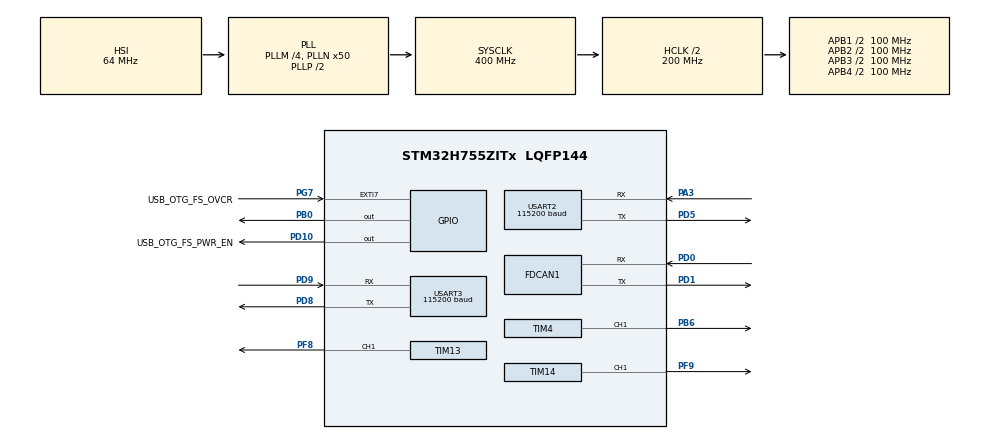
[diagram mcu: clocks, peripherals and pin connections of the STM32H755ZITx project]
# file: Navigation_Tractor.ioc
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CortexM4.IPs=FATFS_M4\:I,FREERTOS_M4\:I,IWDG2\:I,RCC,WWDG2\:I,DMA,BDMA,MDMA,NVIC2\:I,ETH,USART3,DEBUG,PDM2PCM_M4\:I,PWR,RESMGR_UTILITY,SYS_M4\:I,USB_DEVICE_M4\:I,USB_HOST_M4\:I,CORTEX_M4\:I,GPIO,OPENAMP_M4\:I,VREFBUF,NUCLEO-H755ZI-Q
CortexM7.IPs=FATFS_M7\:I,FREERTOS_M7\:I,IWDG1\:I,RCC\:I,WWDG1\:I,DMA\:I,BDMA\:I,MDMA\:I,NVIC1\:I,ETH\:I,USART3\:I,USB_OTG_FS\:I,SYS\:I,CORTEX_M7\:I,DEBUG\:I,PDM2PCM_M7\:I,PWR\:I,RESMGR_UTILITY\:I,USB_DEVICE_M7\:I,USB_HOST_M7\:I,GPIO\:I,OPENAMP_M7\:I,VREFBUF\:I,NUCLEO-H755ZI-Q\:I,MEMORYMAP\:I,TIM13\:I,TIM14\:I,USART2\:I,FDCAN1\:I,TIM4\:I
CortexM7.Pins=PB0
FDCAN1.CalculateBaudRateNominal=500000
FDCAN1.CalculateTimeBitNominal=2000
FDCAN1.CalculateTimeQuantumNominal=400.0
FDCAN1.NominalPrescaler=40
FDCAN1.NominalSyncJumpWidth=1
FDCAN1.NominalTimeSeg1=3
FDCAN1.NominalTimeSeg2=1
FDCAN1.ProtocolException=DISABLE
FDCAN1.RxFifo0ElmtsNbr=4
FDCAN1.StdFiltersNbr=1
FDCAN1.TxFifoQueueElmtsNbr=4
FREERTOS_M7.Tasks01=defaultTask,24,128,StartDefaultTask,Default,NULL,Dynamic,NULL,NULL
Mcu.Family=STM32H7
Mcu.Name=STM32H755ZITx
Mcu.Package=LQFP144
NVIC1.FDCAN1_IT0_IRQn=true\:5\:0\:true\:false\:true\:true\:true\:true\:true
NVIC1.PriorityGroup=NVIC_PRIORITYGROUP_4
NVIC1.USART2_IRQn=true\:5\:0\:false\:false\:true\:true\:true\:true\:true
NVIC1.USART3_IRQn=true\:5\:0\:false\:false\:true\:true\:true\:true\:true
NVIC2.PriorityGroup=NVIC_PRIORITYGROUP_4
PA1.PinAttribute=CortexM7
PA1.Signal=ETH_REF_CLK
PA11.PinAttribute=CortexM7
PA11.Signal=USB_OTG_FS_DM
PA12.PinAttribute=CortexM7
PA12.Signal=USB_OTG_FS_DP
PA2.PinAttribute=CortexM7
PA2.Signal=ETH_MDIO
PA3.Mode=Asynchronous
PA3.PinAttribute=CortexM7
PA3.Signal=USART2_RX
PA7.PinAttribute=CortexM7
PA7.Signal=ETH_CRS_DV
PA8.PinAttribute=CortexM7
PA8.Signal=USB_OTG_FS_SOF
PA9.PinAttribute=CortexM7
PA9.Signal=USB_OTG_FS_VBUS
PB0.PinAttribute=CortexM7
PB0.Signal=GPIO_Output
PB13.PinAttribute=CortexM7
PB13.Signal=ETH_TXD1
PB6.PinAttribute=CortexM7
PB6.Signal=S_TIM4_CH1
PC1.PinAttribute=CortexM7
PC1.Signal=ETH_MDC
PC14-OSC32_IN\ (OSC32_IN).Mode=LSE-External-Oscillator
PC14-OSC32_IN\ (OSC32_IN).PinAttribute=Free
PC14-OSC32_IN\ (OSC32_IN).Signal=RCC_OSC32_IN
PC15-OSC32_OUT\ (OSC32_OUT).Mode=LSE-External-Oscillator
PC15-OSC32_OUT\ (OSC32_OUT).PinAttribute=Free
PC15-OSC32_OUT\ (OSC32_OUT).Signal=RCC_OSC32_OUT
PC4.PinAttribute=CortexM7
PC4.Signal=ETH_RXD0
PC5.PinAttribute=CortexM7
PC5.Signal=ETH_RXD1
PD0.Mode=FDCAN_Activate
PD0.PinAttribute=CortexM7
PD0.Signal=FDCAN1_RX
PD1.Mode=FDCAN_Activate
PD1.PinAttribute=CortexM7
PD1.Signal=FDCAN1_TX
PD10.GPIO_Label=USB_OTG_FS_PWR_EN
PD10.PinAttribute=Free
PD10.Signal=GPIO_Output
PD5.Mode=Asynchronous
PD5.PinAttribute=CortexM7
PD5.Signal=USART2_TX
PD8.Mode=Asynchronous
PD8.PinAttribute=CortexM7
PD8.Signal=USART3_TX
PD9.Mode=Asynchronous
PD9.PinAttribute=CortexM7
PD9.Signal=USART3_RX
PF8.PinAttribute=CortexM7
PF8.Signal=S_TIM13_CH1
PF9.PinAttribute=CortexM7
PF9.Signal=S_TIM14_CH1
PG11.PinAttribute=CortexM7
PG11.Signal=ETH_TX_EN
PG13.PinAttribute=CortexM7
PG13.Signal=ETH_TXD0
PG7.GPIO_Label=USB_OTG_FS_OVCR
PG7.PinAttribute=Free
PG7.Signal=GPXTI7
PH0-OSC_IN\ (PH0).Mode=HSE-External-Clock-Source
PH0-OSC_IN\ (PH0).PinAttribute=Free
PH0-OSC_IN\ (PH0).Signal=RCC_OSC_IN
PH1-OSC_OUT\ (PH1).PinAttribute=Free
PH1-OSC_OUT\ (PH1).Signal=RCC_OSC_OUT
ProjectManager.HeapSize=M4-0x200,M7-0x200
ProjectManager.StackSize=M4-0x400,M7-0x400
ProjectManager.TargetToolchain=STM32CubeIDE
RCC.ADCFreq_Value=129000000
RCC.APB1Freq_Value=100000000
RCC.APB2Freq_Value=100000000
RCC.APB3Freq_Value=100000000
RCC.APB4Freq_Value=100000000
RCC.CortexFreq_Value=400000000
RCC.D1PPRE=RCC_APB3_DIV2
RCC.D2PPRE1=RCC_APB1_DIV2
RCC.D2PPRE2=RCC_APB2_DIV2
RCC.D3PPRE=RCC_APB4_DIV2
RCC.DIVM1=4
RCC.DIVN1=50
RCC.DIVQ1=8
RCC.HCLKFreq_Value=200000000
RCC.HPRE=RCC_HCLK_DIV2
RCC.HSE_VALUE=25000000
RCC.PLL2FRACN=0
RCC.PLL3FRACN=0
RCC.PLLFRACN=0
RCC.SYSCLKFreq_VALUE=400000000
RCC.SYSCLKSource=RCC_SYSCLKSOURCE_PLLCLK
RCC.SupplySource=PWR_DIRECT_SMPS_SUPPLY
RCC.USBFreq_Value=100000000
SH.S_TIM13_CH1.0=TIM13_CH1,PWM Generation1 CH1
SH.S_TIM14_CH1.0=TIM14_CH1,PWM Generation1 CH1
SH.S_TIM4_CH1.0=TIM4_CH1,PWM Generation1 CH1
TIM13.AutoReloadPreload=TIM_AUTORELOAD_PRELOAD_ENABLE
TIM13.Channel=TIM_CHANNEL_1
TIM13.Period=19999
TIM13.Prescaler=199
TIM13.Pulse=1500
TIM14.AutoReloadPreload=TIM_AUTORELOAD_PRELOAD_ENABLE
TIM14.Channel=TIM_CHANNEL_1
TIM14.Period=19999
TIM14.Prescaler=199
TIM14.Pulse=1500
TIM4.Channel-PWM\ Generation1\ CH1=TIM_CHANNEL_1
TIM4.Period=99
TIM4.Prescaler=9
USART2.BaudRate=115200
USART2.VirtualMode-Asynchronous=VM_ASYNC
USART3.BaudRate=115200
USART3.VirtualMode-Asynchronous=VM_ASYNC
VP_FREERTOS_M7_VS_CMSIS_V2.Mode=CMSIS_V2
VP_MEMORYMAP_VS_MEMORYMAP.Mode=CurAppReg
VP_SYS_M4_VS_Systick.Mode=SysTick
VP_TIM13_VS_ClockSourceINT.Mode=Enable_Timer
VP_TIM14_VS_ClockSourceINT.Mode=Enable_Timer
board=NUCLEO-H755ZI-Q

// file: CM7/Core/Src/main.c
/* USER CODE BEGIN Header */
/**
  ******************************************************************************
  * @file           : main.c
  * @brief          : Main program body
  ******************************************************************************
  * @attention
  *
  * Copyright (c) 2025 STMicroelectronics.
  * All rights reserved.
  *
  * This software is licensed under terms that can be found in the LICENSE file
  * in the root directory of this software component.
  * If no LICENSE file comes with this software, it is provided AS-IS.
  *
  ******************************************************************************
  */
/* USER CODE END Header */
#include "main.h"
#include "cmsis_os.h"

/* USER CODE BEGIN Includes */
#include "hc05_module.h"
#include "myprintf.h"
#include "motor_controller.h"
#include "Buzzer.h"
#include "FreeRTOS.h"
#include "queue.h"
#include "Constants.h"
/* USER CODE END Includes */

/* USER CODE BEGIN PD */

/* DUAL_CORE_BOOT_SYNC_SEQUENCE: Define for dual core boot synchronization    */
/*                             demonstration code based on hardware semaphore */
/* This define is present in both CM7/CM4 projects                            */
/* To comment when developping/debugging on a single core                     */
#define DUAL_CORE_BOOT_SYNC_SEQUENCE

#if defined(DUAL_CORE_BOOT_SYNC_SEQUENCE)
#ifndef HSEM_ID_0
#define HSEM_ID_0 (0U) /* HW semaphore 0*/
#endif
#endif /* DUAL_CORE_BOOT_SYNC_SEQUENCE */

/* USER CODE END PD */

FDCAN_HandleTypeDef hfdcan1;

TIM_HandleTypeDef htim4;
TIM_HandleTypeDef htim13;
TIM_HandleTypeDef htim14;

UART_HandleTypeDef huart2;
UART_HandleTypeDef huart3;

/* Definitions for defaultTask */
/* USER CODE BEGIN PV */
//CONTROL DECLARATION
OdomData_t gOdom;
Pose2D_t     g_pose   = {0};
Pose2D_t     odom_pose   = {0};
Pose2D_Camera    cam_pose   = {0};
ControlCmd_t g_ctrl   = {0};

//WAYPOINT DECLARATION
Waypoint path[NUM_WP] = {
		{0.7f, -0.13f},
		{0.44f, 0.67f},
		{1.50f, 0.26f},
		{1.50f,0.8f}
};

int current_wp = INITIAL_WAYPOINT;
int waypoint_active = 0;

//SERVO OFFSET CONFIGURATION
const uint16_t SERVO_CENTER_PWM = SERVO_STATE;
const uint16_t SERVO_MIN_PWM = SERVO_MIN;
const uint16_t SERVO_MAX_PWM = SERVO_MAX;
const float    SERVO_K_PWM_PER_RAD = (SERVO_MAX_PWM-SERVO_STATE) / (26.0f * M_PI/180.0f);

//RTOS QUEUES AND TASK DECLARATION
QueueHandle_t xCanRxQueue;
osThreadId_t canRxTaskHandle;
osThreadId_t actuatorTaskHandle;
osThreadId_t controlTaskHandle;
osThreadId_t waypointManagerTaskHandle;
osThreadId_t debugTaskHandle;

const osThreadAttr_t canRxTask_attributes = {
  .name = "canRxTask",
  .stack_size = 512 * 4,                   // 2 KB of stack
  .priority = (osPriority_t) osPriorityHigh,
};

const osThreadAttr_t actuatorTask_attributes = {
  .name = "actuatorTask",
  .stack_size = 512 * 4,                   // 2 KB of stack
  .priority = (osPriority_t) osPriorityAboveNormal1,
};
const osThreadAttr_t controlTask_attributes = {
  .name = "controlTask",
  .stack_size = 512 * 4,                   // 2 KB of stack
  .priority = (osPriority_t) osPriorityAboveNormal,
};
const osThreadAttr_t waypointTask_attributes = {
  .name = "waypointManagerTask",
  .stack_size = 512 * 4,                   // 2 KB of stack
  .priority = (osPriority_t) osPriorityAboveNormal,
};
const osThreadAttr_t debugTask_attributes = {
  .name = "debugTask",
  .stack_size = 512 * 4,                   // 2 KB of stack
  .priority = (osPriority_t)  osPriorityNormal,
};

/* USER CODE END PV */

void SystemClock_Config(void);
static void MX_GPIO_Init(void);
static void MX_USART3_UART_Init(void);
static void MX_TIM13_Init(void);
static void MX_TIM14_Init(void);
static void MX_USART2_UART_Init(void);
static void MX_FDCAN1_Init(void);
static void MX_TIM4_Init(void);
void StartDefaultTask(void *argument);

/* USER CODE BEGIN PFP */
void CanRxTask(void *argument);
void ActuatorTask(void *argument);
void Control_Task(void *argument);
void WaypointManager_Task(void *argument);
void Debug_Task(void *argument);
float pure_pursuit_compute_delta(Pose2D_t pose, Waypoint path[],int current_wp);

/* USER CODE END PFP */

/* USER CODE BEGIN 0 */
/* --- Calibration --- */
void HAL_FDCAN_RxFifo0Callback(FDCAN_HandleTypeDef *hfdcan, uint32_t RxFifo0ITs)
{
    if ((RxFifo0ITs & FDCAN_IT_RX_FIFO0_NEW_MESSAGE) != 0)
    {   //Received new message in interruption
        FDCAN_RxHeaderTypeDef rxHeader;
        uint8_t rxData[8];
        //Check new message is a valid can message
        if (HAL_FDCAN_GetRxMessage(hfdcan, FDCAN_RX_FIFO0, &rxHeader, rxData) == HAL_OK)
        {
        	CanFrame_t frame;   //Create a frame message with our struct
        	frame.id  = rxHeader.Identifier; //Set can ID
        	memcpy(frame.data, rxData, 8); 	 //Copy data to frame data
        	BaseType_t xHigherPriorityTaskWoken = pdFALSE;
        	xQueueSendToBackFromISR(xCanRxQueue, &frame, &xHigherPriorityTaskWoken); //Send to queue back
        	portYIELD_FROM_ISR(xHigherPriorityTaskWoken); //return to high priority task

        }
        }
    }

float pure_pursuit_compute_delta(Pose2D_t pose,
                                 Waypoint path[],
                                 int current_wp)
{

    Waypoint goal = path[current_wp];

    int last_wp = NUM_WP - 1;
   // Lookahead algorithm
    for (int i = current_wp; i <= last_wp; i++) {
        float dx = path[i].x - pose.x;
        float dy = path[i].y - pose.y;
        float dist = sqrtf(dx*dx + dy*dy);

        if (dist >= LOOKAHEAD_DIST) {
            goal = path[i];
            break;
        }
    }
    // ---------------------------------------------
    // Transform goal point into vehicle coordinate frame
    // ---------------------------------------------
    float dx = goal.x - pose.x;
    float dy = goal.y - pose.y;

    float cos_t = cosf(pose.theta);
    float sin_t = sinf(pose.theta);

    // Vehicle frame (x forward, y left)
    float x_cg =  cos_t * dx + sin_t * dy;
    float y_cg = -sin_t * dx + cos_t * dy;

    float Ld = sqrtf(x_cg*x_cg + y_cg*y_cg);
    if (Ld < 0.001f) Ld = 0.001f;
    // 3. Pure Pursuit steering law
    // δ = atan( 2 * L * y / Ld^2 )
    float delta = atan2f(2.0f * WHEELBASE * y_cg, (Ld * Ld));
    //limit to Max steering
    if (delta >  MAX_STEER_ANGLE) delta =  MAX_STEER_ANGLE;
    if (delta < -MAX_STEER_ANGLE) delta = -MAX_STEER_ANGLE;

    return delta;   // radians
}
/* USER CODE END 0 */

int main(void)
{

/* USER CODE BEGIN Boot_Mode_Sequence_0 */
#if defined(DUAL_CORE_BOOT_SYNC_SEQUENCE)
  int32_t timeout;
#endif /* DUAL_CORE_BOOT_SYNC_SEQUENCE */
/* USER CODE END Boot_Mode_Sequence_0 */

/* USER CODE BEGIN Boot_Mode_Sequence_1 */
#if defined(DUAL_CORE_BOOT_SYNC_SEQUENCE)
  /* Wait until CPU2 boots and enters in stop mode or timeout*/
  timeout = 0xFFFF;
  while((__HAL_RCC_GET_FLAG(RCC_FLAG_D2CKRDY) != RESET) && (timeout-- > 0));
  if ( timeout < 0 )
  {
  Error_Handler();
  }
#endif /* DUAL_CORE_BOOT_SYNC_SEQUENCE */
/* USER CODE END Boot_Mode_Sequence_1 */
  /* MCU Configuration--------------------------------------------------------*/

  /* Reset of all peripherals, Initializes the Flash interface and the Systick. */
  HAL_Init();

  /* Configure the system clock */
  SystemClock_Config();
/* USER CODE BEGIN Boot_Mode_Sequence_2 */
#if defined(DUAL_CORE_BOOT_SYNC_SEQUENCE)
/* When system initialization is finished, Cortex-M7 will release Cortex-M4 by means of
HSEM notification */
/*HW semaphore Clock enable*/
__HAL_RCC_HSEM_CLK_ENABLE();
/*Take HSEM */
HAL_HSEM_FastTake(HSEM_ID_0);
/*Release HSEM in order to notify the CPU2(CM4)*/
HAL_HSEM_Release(HSEM_ID_0,0);
/* wait until CPU2 wakes up from stop mode */
timeout = 0xFFFF;
while((__HAL_RCC_GET_FLAG(RCC_FLAG_D2CKRDY) == RESET) && (timeout-- > 0));
if ( timeout < 0 )
{
Error_Handler();
}
#endif /* DUAL_CORE_BOOT_SYNC_SEQUENCE */
/* USER CODE END Boot_Mode_Sequence_2 */

  /* Initialize all configured peripherals */
  MX_GPIO_Init();
  MX_USART3_UART_Init();
  MX_TIM13_Init();
  MX_TIM14_Init();
  MX_USART2_UART_Init();
  MX_FDCAN1_Init();
  MX_TIM4_Init();
  /* USER CODE BEGIN 2 */
  //START ALL INTERFACES
  startHCrx(&huart2);
  startMotor(&htim13);
  startServo(&htim14);
  startBuzzer(&htim4);
  setMotorStep(0);
  HAL_Delay(500);
  /* USER CODE END 2 */

  /* Init scheduler */
  osKernelInitialize();

  /* Create the thread(s) */
  /* creation of defaultTask */

  /* USER CODE BEGIN RTOS_THREADS */
  //QUEUE, INTERRUPT AND TASK INITIALIZATION
  xCanRxQueue = xQueueCreate(32, sizeof(CanFrame_t));
  if (HAL_FDCAN_ActivateNotification(&hfdcan1,FDCAN_IT_RX_FIFO0_NEW_MESSAGE,0) != HAL_OK){
	  Error_Handler();
  }
  canRxTaskHandle = osThreadNew(CanRxTask, NULL, &canRxTask_attributes);
  actuatorTaskHandle = osThreadNew(ActuatorTask, NULL, &actuatorTask_attributes);
  controlTaskHandle = osThreadNew(Control_Task, NULL, &controlTask_attributes);
  waypointManagerTaskHandle = osThreadNew(WaypointManager_Task, NULL, &waypointTask_attributes);
  debugTaskHandle   = osThreadNew(Debug_Task, NULL, &debugTask_attributes);

  /* add threads, ... */
  /* USER CODE END RTOS_THREADS */

  /* Start scheduler */
  osKernelStart();

  /* We should never get here as control is now taken by the scheduler */

  /* Infinite loop */
  while (1)
  {

  }
}

void SystemClock_Config(void)
{
  RCC_OscInitTypeDef RCC_OscInitStruct = {0};
  RCC_ClkInitTypeDef RCC_ClkInitStruct = {0};

  /** Supply configuration update enable
  */
  HAL_PWREx_ConfigSupply(PWR_DIRECT_SMPS_SUPPLY);

  /** Configure the main internal regulator output voltage
  */
  __HAL_PWR_VOLTAGESCALING_CONFIG(PWR_REGULATOR_VOLTAGE_SCALE1);

  while(!__HAL_PWR_GET_FLAG(PWR_FLAG_VOSRDY)) {}

  /** Initializes the RCC Oscillators according to the specified parameters
  * in the RCC_OscInitTypeDef structure.
  */
  RCC_OscInitStruct.OscillatorType = RCC_OSCILLATORTYPE_HSI;
  RCC_OscInitStruct.HSIState = RCC_HSI_DIV1;
  RCC_OscInitStruct.HSICalibrationValue = RCC_HSICALIBRATION_DEFAULT;
  RCC_OscInitStruct.PLL.PLLState = RCC_PLL_ON;
  RCC_OscInitStruct.PLL.PLLSource = RCC_PLLSOURCE_HSI;
  RCC_OscInitStruct.PLL.PLLM = 4;
  RCC_OscInitStruct.PLL.PLLN = 50;
  RCC_OscInitStruct.PLL.PLLP = 2;
  RCC_OscInitStruct.PLL.PLLQ = 8;
  RCC_OscInitStruct.PLL.PLLR = 2;
  RCC_OscInitStruct.PLL.PLLRGE = RCC_PLL1VCIRANGE_3;
  RCC_OscInitStruct.PLL.PLLVCOSEL = RCC_PLL1VCOWIDE;
  RCC_OscInitStruct.PLL.PLLFRACN = 0;
  if (HAL_RCC_OscConfig(&RCC_OscInitStruct) != HAL_OK)
  {
    Error_Handler();
  }

  /** Initializes the CPU, AHB and APB buses clocks
  */
  RCC_ClkInitStruct.ClockType = RCC_CLOCKTYPE_HCLK|RCC_CLOCKTYPE_SYSCLK
                              |RCC_CLOCKTYPE_PCLK1|RCC_CLOCKTYPE_PCLK2
                              |RCC_CLOCKTYPE_D3PCLK1|RCC_CLOCKTYPE_D1PCLK1;
  RCC_ClkInitStruct.SYSCLKSource = RCC_SYSCLKSOURCE_PLLCLK;
  RCC_ClkInitStruct.SYSCLKDivider = RCC_SYSCLK_DIV1;
  RCC_ClkInitStruct.AHBCLKDivider = RCC_HCLK_DIV2;
  RCC_ClkInitStruct.APB3CLKDivider = RCC_APB3_DIV2;
  RCC_ClkInitStruct.APB1CLKDivider = RCC_APB1_DIV2;
  RCC_ClkInitStruct.APB2CLKDivider = RCC_APB2_DIV2;
  RCC_ClkInitStruct.APB4CLKDivider = RCC_APB4_DIV2;

  if (HAL_RCC_ClockConfig(&RCC_ClkInitStruct, FLASH_LATENCY_2) != HAL_OK)
  {
    Error_Handler();
  }
}

static void MX_FDCAN1_Init(void)
{

  hfdcan1.Instance = FDCAN1;
  hfdcan1.Init.FrameFormat = FDCAN_FRAME_CLASSIC;
  hfdcan1.Init.Mode = FDCAN_MODE_NORMAL;
  hfdcan1.Init.AutoRetransmission = DISABLE;
  hfdcan1.Init.TransmitPause = DISABLE;
  hfdcan1.Init.ProtocolException = DISABLE;
  hfdcan1.Init.NominalPrescaler = 40;
  hfdcan1.Init.NominalSyncJumpWidth = 1;
  hfdcan1.Init.NominalTimeSeg1 = 3;
  hfdcan1.Init.NominalTimeSeg2 = 1;
  hfdcan1.Init.DataPrescaler = 1;
  hfdcan1.Init.DataSyncJumpWidth = 1;
  hfdcan1.Init.DataTimeSeg1 = 1;
  hfdcan1.Init.DataTimeSeg2 = 1;
  hfdcan1.Init.MessageRAMOffset = 0;
  hfdcan1.Init.StdFiltersNbr = 1;
  hfdcan1.Init.ExtFiltersNbr = 0;
  hfdcan1.Init.RxFifo0ElmtsNbr = 4;
  hfdcan1.Init.RxFifo0ElmtSize = FDCAN_DATA_BYTES_8;
  hfdcan1.Init.RxFifo1ElmtsNbr = 0;
  hfdcan1.Init.RxFifo1ElmtSize = FDCAN_DATA_BYTES_8;
  hfdcan1.Init.RxBuffersNbr = 0;
  hfdcan1.Init.RxBufferSize = FDCAN_DATA_BYTES_8;
  hfdcan1.Init.TxEventsNbr = 0;
  hfdcan1.Init.TxBuffersNbr = 0;
  hfdcan1.Init.TxFifoQueueElmtsNbr = 4;
  hfdcan1.Init.TxFifoQueueMode = FDCAN_TX_FIFO_OPERATION;
  hfdcan1.Init.TxElmtSize = FDCAN_DATA_BYTES_8;
  if (HAL_FDCAN_Init(&hfdcan1) != HAL_OK)
  {
    Error_Handler();
  }
  /* USER CODE BEGIN FDCAN1_Init 2 */
  FDCAN_FilterTypeDef sFilterConfig = {0};

        // Accept all standard IDs into RX FIFO0
        sFilterConfig.IdType = FDCAN_STANDARD_ID;
        sFilterConfig.FilterIndex = 0;
        sFilterConfig.FilterType = FDCAN_FILTER_RANGE;
        sFilterConfig.FilterConfig = FDCAN_FILTER_TO_RXFIFO0;
        sFilterConfig.FilterID1 = 0x000;  // start ID
        sFilterConfig.FilterID2 = 0x7FF;  // end ID

        if (HAL_FDCAN_ConfigFilter(&hfdcan1, &sFilterConfig) != HAL_OK)
        {
            Error_Handler();
        }

        // Optional: global filter for non-matching IDs
        HAL_FDCAN_ConfigGlobalFilter(
            &hfdcan1,
            FDCAN_REJECT,
            FDCAN_REJECT,
            FDCAN_FILTER_REMOTE,
            FDCAN_FILTER_REMOTE
        );

        if (HAL_FDCAN_Start(&hfdcan1) != HAL_OK)
        {
            Error_Handler();
        }

  /* USER CODE END FDCAN1_Init 2 */

}

static void MX_TIM4_Init(void)
{

  TIM_MasterConfigTypeDef sMasterConfig = {0};
  TIM_OC_InitTypeDef sConfigOC = {0};

  htim4.Instance = TIM4;
  htim4.Init.Prescaler = 9;
  htim4.Init.CounterMode = TIM_COUNTERMODE_UP;
  htim4.Init.Period = 99;
  htim4.Init.ClockDivision = TIM_CLOCKDIVISION_DIV1;
  htim4.Init.AutoReloadPreload = TIM_AUTORELOAD_PRELOAD_DISABLE;
  if (HAL_TIM_PWM_Init(&htim4) != HAL_OK)
  {
    Error_Handler();
  }
  sMasterConfig.MasterOutputTrigger = TIM_TRGO_RESET;
  sMasterConfig.MasterSlaveMode = TIM_MASTERSLAVEMODE_DISABLE;
  if (HAL_TIMEx_MasterConfigSynchronization(&htim4, &sMasterConfig) != HAL_OK)
  {
    Error_Handler();
  }
  sConfigOC.OCMode = TIM_OCMODE_PWM1;
  sConfigOC.Pulse = 0;
  sConfigOC.OCPolarity = TIM_OCPOLARITY_HIGH;
  sConfigOC.OCFastMode = TIM_OCFAST_DISABLE;
  if (HAL_TIM_PWM_ConfigChannel(&htim4, &sConfigOC, TIM_CHANNEL_1) != HAL_OK)
  {
    Error_Handler();
  }
  HAL_TIM_MspPostInit(&htim4);

}

static void MX_TIM13_Init(void)
{

  TIM_OC_InitTypeDef sConfigOC = {0};

  htim13.Instance = TIM13;
  htim13.Init.Prescaler = 199;
  htim13.Init.CounterMode = TIM_COUNTERMODE_UP;
  htim13.Init.Period = 19999;
  htim13.Init.ClockDivision = TIM_CLOCKDIVISION_DIV1;
  htim13.Init.AutoReloadPreload = TIM_AUTORELOAD_PRELOAD_ENABLE;
  if (HAL_TIM_Base_Init(&htim13) != HAL_OK)
  {
    Error_Handler();
  }
  if (HAL_TIM_PWM_Init(&htim13) != HAL_OK)
  {
    Error_Handler();
  }
  sConfigOC.OCMode = TIM_OCMODE_PWM1;
  sConfigOC.Pulse = 1500;
  sConfigOC.OCPolarity = TIM_OCPOLARITY_HIGH;
  sConfigOC.OCFastMode = TIM_OCFAST_DISABLE;
  if (HAL_TIM_PWM_ConfigChannel(&htim13, &sConfigOC, TIM_CHANNEL_1) != HAL_OK)
  {
    Error_Handler();
  }
  HAL_TIM_MspPostInit(&htim13);

}

static void MX_TIM14_Init(void)
{

  TIM_OC_InitTypeDef sConfigOC = {0};

  htim14.Instance = TIM14;
  htim14.Init.Prescaler = 199;
  htim14.Init.CounterMode = TIM_COUNTERMODE_UP;
  htim14.Init.Period = 19999;
  htim14.Init.ClockDivision = TIM_CLOCKDIVISION_DIV1;
  htim14.Init.AutoReloadPreload = TIM_AUTORELOAD_PRELOAD_ENABLE;
  if (HAL_TIM_Base_Init(&htim14) != HAL_OK)
  {
    Error_Handler();
  }
  if (HAL_TIM_PWM_Init(&htim14) != HAL_OK)
  {
    Error_Handler();
  }
  sConfigOC.OCMode = TIM_OCMODE_PWM1;
  sConfigOC.Pulse = 1500;
  sConfigOC.OCPolarity = TIM_OCPOLARITY_HIGH;
  sConfigOC.OCFastMode = TIM_OCFAST_DISABLE;
  if (HAL_TIM_PWM_ConfigChannel(&htim14, &sConfigOC, TIM_CHANNEL_1) != HAL_OK)
  {
    Error_Handler();
  }
  HAL_TIM_MspPostInit(&htim14);

}

static void MX_USART2_UART_Init(void)
{

  huart2.Instance = USART2;
  huart2.Init.BaudRate = 115200;
  huart2.Init.WordLength = UART_WORDLENGTH_8B;
  huart2.Init.StopBits = UART_STOPBITS_1;
  huart2.Init.Parity = UART_PARITY_NONE;
  huart2.Init.Mode = UART_MODE_TX_RX;
  huart2.Init.HwFlowCtl = UART_HWCONTROL_NONE;
  huart2.Init.OverSampling = UART_OVERSAMPLING_16;
  huart2.Init.OneBitSampling = UART_ONE_BIT_SAMPLE_DISABLE;
  huart2.Init.ClockPrescaler = UART_PRESCALER_DIV1;
  huart2.AdvancedInit.AdvFeatureInit = UART_ADVFEATURE_NO_INIT;
  if (HAL_UART_Init(&huart2) != HAL_OK)
  {
    Error_Handler();
  }
  if (HAL_UARTEx_SetTxFifoThreshold(&huart2, UART_TXFIFO_THRESHOLD_1_8) != HAL_OK)
  {
    Error_Handler();
  }
  if (HAL_UARTEx_SetRxFifoThreshold(&huart2, UART_RXFIFO_THRESHOLD_1_8) != HAL_OK)
  {
    Error_Handler();
  }
  if (HAL_UARTEx_DisableFifoMode(&huart2) != HAL_OK)
  {
    Error_Handler();
  }

}

static void MX_USART3_UART_Init(void)
{

  huart3.Instance = USART3;
  huart3.Init.BaudRate = 115200;
  huart3.Init.WordLength = UART_WORDLENGTH_8B;
  huart3.Init.StopBits = UART_STOPBITS_1;
  huart3.Init.Parity = UART_PARITY_NONE;
  huart3.Init.Mode = UART_MODE_TX_RX;
  huart3.Init.HwFlowCtl = UART_HWCONTROL_NONE;
  huart3.Init.OverSampling = UART_OVERSAMPLING_16;
  huart3.Init.OneBitSampling = UART_ONE_BIT_SAMPLE_DISABLE;
  huart3.Init.ClockPrescaler = UART_PRESCALER_DIV1;
  huart3.AdvancedInit.AdvFeatureInit = UART_ADVFEATURE_NO_INIT;
  if (HAL_UART_Init(&huart3) != HAL_OK)
  {
    Error_Handler();
  }
  if (HAL_UARTEx_SetTxFifoThreshold(&huart3, UART_TXFIFO_THRESHOLD_1_8) != HAL_OK)
  {
    Error_Handler();
  }
  if (HAL_UARTEx_SetRxFifoThreshold(&huart3, UART_RXFIFO_THRESHOLD_1_8) != HAL_OK)
  {
    Error_Handler();
  }
  if (HAL_UARTEx_DisableFifoMode(&huart3) != HAL_OK)
  {
    Error_Handler();
  }

}

static void MX_GPIO_Init(void)
{
  GPIO_InitTypeDef GPIO_InitStruct = {0};

  /* GPIO Ports Clock Enable */
  __HAL_RCC_GPIOF_CLK_ENABLE();
  __HAL_RCC_GPIOC_CLK_ENABLE();
  __HAL_RCC_GPIOA_CLK_ENABLE();
  __HAL_RCC_GPIOB_CLK_ENABLE();
  __HAL_RCC_GPIOD_CLK_ENABLE();
  __HAL_RCC_GPIOG_CLK_ENABLE();

  /*Configure GPIO pin Output Level */
  HAL_GPIO_WritePin(GPIOB, GPIO_PIN_0, GPIO_PIN_RESET);

  /*Configure GPIO pins : PC1 PC4 PC5 */
  GPIO_InitStruct.Pin = GPIO_PIN_1|GPIO_PIN_4|GPIO_PIN_5;
  GPIO_InitStruct.Mode = GPIO_MODE_AF_PP;
  GPIO_InitStruct.Pull = GPIO_NOPULL;
  GPIO_InitStruct.Speed = GPIO_SPEED_FREQ_LOW;
  GPIO_InitStruct.Alternate = GPIO_AF11_ETH;
  HAL_GPIO_Init(GPIOC, &GPIO_InitStruct);

  /*Configure GPIO pins : PA1 PA2 PA7 */
  GPIO_InitStruct.Pin = GPIO_PIN_1|GPIO_PIN_2|GPIO_PIN_7;
  GPIO_InitStruct.Mode = GPIO_MODE_AF_PP;
  GPIO_InitStruct.Pull = GPIO_NOPULL;
  GPIO_InitStruct.Speed = GPIO_SPEED_FREQ_LOW;
  GPIO_InitStruct.Alternate = GPIO_AF11_ETH;
  HAL_GPIO_Init(GPIOA, &GPIO_InitStruct);

  /*Configure GPIO pin : PB0 */
  GPIO_InitStruct.Pin = GPIO_PIN_0;
  GPIO_InitStruct.Mode = GPIO_MODE_OUTPUT_PP;
  GPIO_InitStruct.Pull = GPIO_NOPULL;
  GPIO_InitStruct.Speed = GPIO_SPEED_FREQ_LOW;
  HAL_GPIO_Init(GPIOB, &GPIO_InitStruct);

  /*Configure GPIO pin : PB13 */
  GPIO_InitStruct.Pin = GPIO_PIN_13;
  GPIO_InitStruct.Mode = GPIO_MODE_AF_PP;
  GPIO_InitStruct.Pull = GPIO_NOPULL;
  GPIO_InitStruct.Speed = GPIO_SPEED_FREQ_LOW;
  GPIO_InitStruct.Alternate = GPIO_AF11_ETH;
  HAL_GPIO_Init(GPIOB, &GPIO_InitStruct);

  /*Configure GPIO pins : PA8 PA11 PA12 */
  GPIO_InitStruct.Pin = GPIO_PIN_8|GPIO_PIN_11|GPIO_PIN_12;
  GPIO_InitStruct.Mode = GPIO_MODE_AF_PP;
  GPIO_InitStruct.Pull = GPIO_NOPULL;
  GPIO_InitStruct.Speed = GPIO_SPEED_FREQ_LOW;
  GPIO_InitStruct.Alternate = GPIO_AF10_OTG1_FS;
  HAL_GPIO_Init(GPIOA, &GPIO_InitStruct);

  /*Configure GPIO pins : PG11 PG13 */
  GPIO_InitStruct.Pin = GPIO_PIN_11|GPIO_PIN_13;
  GPIO_InitStruct.Mode = GPIO_MODE_AF_PP;
  GPIO_InitStruct.Pull = GPIO_NOPULL;
  GPIO_InitStruct.Speed = GPIO_SPEED_FREQ_LOW;
  GPIO_InitStruct.Alternate = GPIO_AF11_ETH;
  HAL_GPIO_Init(GPIOG, &GPIO_InitStruct);

}

/* USER CODE BEGIN 4 */
void CanRxTask(void *argument)
{
	CanFrame_t frame;
	TickType_t lastTimeTicks = 0;
	int32_t    lastTicks     = 0;
    uint8_t    havePrev     = 0;
	const float R = WHEEL_RADIUS_M;
	const float ticksPerRev = (float)TICKS_PER_REV;
    for(;;)
    {
        if (xQueueReceive(xCanRxQueue, &frame, portMAX_DELAY) == pdTRUE) {
            // Check for encoder ID
            if (frame.id == ENCODER_CAN_ID) {
            	int32_t ticks =  //reconstruct encoder message
            	   ((int32_t)frame.data[0] << 0)
            	   | ((int32_t)frame.data[1] << 8)
            	   | ((int32_t)frame.data[2] << 16)
            	   | ((int32_t)frame.data[3] << 24);
                TickType_t now = xTaskGetTickCount(); //get ticks
                if (havePrev) { //check for prev tick count
                    TickType_t dtTicks = now - lastTimeTicks;   // Time difference

                    if (dtTicks > 0) {
                        float dt = (float)dtTicks / (float)configTICK_RATE_HZ; // seconds

                        int32_t dTicks = ticks - lastTicks; //tick difference
                        float rev      = (float)dTicks / ticksPerRev; //revolutions
                        float wheelDist = (2.0f * (float)M_PI * R) * rev; // meters
                        float v        = wheelDist / dt;                  // m/s

                        // Update shared odometry state
                        gOdom.wheel_v_mps = v;
                        gOdom.last_ticks  = ticks;
                    }
                } else {
                    // if theres only one sample
                    havePrev = 1;
                }
                lastTicks     = ticks; //update ticks and time
                lastTimeTicks = now;
            }
            if (frame.id == BNO_CAN_ID){
            	FloatConverter converter;
            	// Fill the binary array directly from the CAN frame
            	converter.binary[0] = frame.data[0];
            	converter.binary[1] = frame.data[1];
            	converter.binary[2] = frame.data[2];
            	converter.binary[3] = frame.data[3];

            	// Read it back as a float automatically
            	gOdom.yaw_val = converter.float_val;
            }
            if (frame.id == CAMERA_CAN_ID){ // Camera poition frame
            	if(frame.data[6] == 0xFF){ // Check for not found distance message
            		cam_pose.active = 0;
            	}else{ //Update active pose
            	cam_pose.active = 1;
            	    int16_t x_rel = (int16_t)( // Big endian bytes X
            	        ((int16_t)frame.data[0] << 8) |
            	        ((int16_t)frame.data[1] << 0)
            	    );

            	    int16_t y_rel = (int16_t)(// Big endian bytes Y
            	        ((int16_t)frame.data[2] << 8) |
            	        ((int16_t)frame.data[3] << 0)
            	    );

            	    int16_t angle_rel = (int16_t)(// Big endian bytes angle
            	        ((int16_t)frame.data[4] << 8) |
            	        ((int16_t)frame.data[5] << 0)
            	    );

            	    cam_pose.x     = (float)x_rel; //Update structure
            	    cam_pose.y     = (float)y_rel;
            	    cam_pose.angle = (float)angle_rel;
            	}
             }

        }
    }
}

void ActuatorTask(void *argument)
{
	    TickType_t last_wake = xTaskGetTickCount();
	    // speed controller state (PI)
	    float speed_integral = 0.0f;
	    TickType_t lastTimeTicks = 0;
	    const float hz_s = (float)(1.0/ACTUATOR_FREQUENCY);
	    const TickType_t period = pdMS_TO_TICKS((int)(hz_s*1000));

	    for (;;) {
	    	vTaskDelayUntil(&last_wake, period);
	    	// Snapshot commands and measured velocity
	    	float v_cmd   = g_ctrl.v_cmd;
	    	float delta   = g_ctrl.delta_cmd;
	    	float v_meas  = gOdom.wheel_v_mps;

	    	TickType_t now = xTaskGetTickCount();
	    	float DT = (float)(now - lastTimeTicks) / (float)configTICK_RATE_HZ;
	    	// SPEED PID  motor PWM
	    	float Kp = KP_CONSTANT, Ki = KI_CONSTANT;
	    	float error = v_cmd - v_meas;
	    	speed_integral += error * DT;
	    	// PID calculation
	    	float u = Kp * error + Ki * speed_integral;

	    	float base_pwm = (v_cmd > 0.0f) ? MIN_VEL : 0.0f;
	    	float pwm = base_pwm + u;
	    	//Limit pwm scalar
	    	if (pwm < 0.0f) pwm = 0.0f;
	    	if (pwm > 1.0f) pwm = 1.0f;
	    	//Convert to pwm
	    	uint16_t motor_pwm = (uint16_t)(pwm * MAX_VEL);

	    	 // 3. STEERING: δ servo PWM
	    	uint16_t steer_pwm = (float)SERVO_CENTER_PWM + SERVO_K_PWM_PER_RAD * delta;
	    	if (steer_pwm < SERVO_MIN_PWM) steer_pwm = SERVO_MIN_PWM;
	    	if (steer_pwm > SERVO_MAX_PWM) steer_pwm = SERVO_MAX_PWM;

	    	lastTimeTicks = now;
	    	setMotorStep(motor_pwm); // update motor pwm
	    	setServo(steer_pwm); // update servo pwm
	    }
	}

void Control_Task(void *argument)
{
    TickType_t last_wake = xTaskGetTickCount();
    TickType_t lastTimeTicks = 0;
    const float hz_s = (float)(1.0/CONTROL_FREQUENCY);
    const TickType_t period = pdMS_TO_TICKS((int)(hz_s*1000)); // Frequency declaration
    for (;;) {
        vTaskDelayUntil(&last_wake, period);

        // Snapshot sensors
        float v_meas  = gOdom.wheel_v_mps;
        float yaw     = gOdom.yaw_val;
//        printf("%.2f \r\n",v_meas);
        //Update odometry
        TickType_t now = xTaskGetTickCount();
        float DT = (float)(now - lastTimeTicks) / (float)configTICK_RATE_HZ;
        odom_pose.theta = yaw;
        odom_pose.x += v_meas * cosf(g_pose.theta) * DT;
        odom_pose.y += v_meas * sinf(g_pose.theta) * DT;
        if(cam_pose.active){ //Prioritize the camera pose
        	g_pose.theta = odom_pose.theta;
        	g_pose.x = cam_pose.x/100;
        	g_pose.y = -1 * (cam_pose.y/100);
        }else{ //change to odometry position on unavailable camera pose
        	g_pose.x = odom_pose.x;
        	g_pose.y = odom_pose.y;
        	g_pose.theta = odom_pose.theta;
        }

        // Pure Pursuit for steering
        float delta_cmd = pure_pursuit_compute_delta(g_pose, path, current_wp);

        lastTimeTicks = now;
        // Speed profile
        float v_cmd = STANDARD_VEL; // m/s
        float dx = path[current_wp].x - g_pose.x;
        float dy = path[current_wp].y - g_pose.y;
        float dist = sqrtf(dx*dx + dy*dy);

        if (dist < 0.6f) v_cmd = 0.2f; //Close speed reduction
        if (dist < 0.5f) v_cmd = 0.03f;

        if(waypoint_active) g_ctrl.v_cmd = v_cmd; // Vel change for stop
        else g_ctrl.v_cmd = 0.0;

        g_ctrl.delta_cmd = delta_cmd;

    }
}

void WaypointManager_Task(void *argument){
	TickType_t last_wake = xTaskGetTickCount(); // time saved
	TickType_t lastTimeTicks = 0;
	const float hz_s = (float)(1.0/WAYPOINT_MANAGER_FREQUENCY);
	const TickType_t period = pdMS_TO_TICKS((int)(hz_s*1000)); //Frequency updater
	int finish_state = 0; // Finish waypoints variable
	for (;;) {
		vTaskDelayUntil(&last_wake, period); //Execution Hz
		TickType_t now = xTaskGetTickCount();
		if(waypoint_active){ // check for actual waypoint status
        	float dx = path[current_wp].x - g_pose.x;
        	float dy = path[current_wp].y - g_pose.y;
        	float dist = sqrtf(dx*dx + dy*dy); //get current distance to waypoint
        	if (dist < WAYPOINT_TOLERANCE && current_wp < (NUM_WP-1)) { // check for goal_reached
        	    current_wp++; // update waypoint
        	    waypoint_active = 0; //update waypoint state
        	    playSingleTone(NOTE_A5,1000);  //Play tone on each waypoint
        	    lastTimeTicks = now;
        	}
        	else if(dist < WAYPOINT_TOLERANCE && current_wp >= (NUM_WP-1)){ // Finish waypoints
        		waypoint_active = 0;
        		finish_state = 1;
        		playTone(melody,durations,melodysize); // play melody

        	}
		}else{
			if(!finish_state && (((float)(now - lastTimeTicks) / (float)configTICK_RATE_HZ) >= STOP_TIME)){ //wait for stop time on each waypoint
				waypoint_active = 1;
			}
		}

	}
}
void Debug_Task(void *argument)
{
    TickType_t last_wake = xTaskGetTickCount();
    const float hz_s = (float)(1.0/DEBUG_FREQUENCY);
    const TickType_t period = pdMS_TO_TICKS((int)(hz_s*1000));//Frequency updater
    for (;;) {
        vTaskDelayUntil(&last_wake, period); //Execution Hz
        sendHC("x=%.3f y=%.3f θ=%.2f° v=%.2f v_cmd=%.2f δ=%.1f°\r\n",
               g_pose.x, g_pose.y,
               g_pose.theta * 180.0f / M_PI,
			   gOdom.wheel_v_mps,
               g_ctrl.v_cmd,
               g_ctrl.delta_cmd * 180.0f / M_PI); //Bluetooth data send
    }
}
/* USER CODE END 4 */

void Error_Handler(void)
{
  __disable_irq();
  while (1)
  {
  }
}
